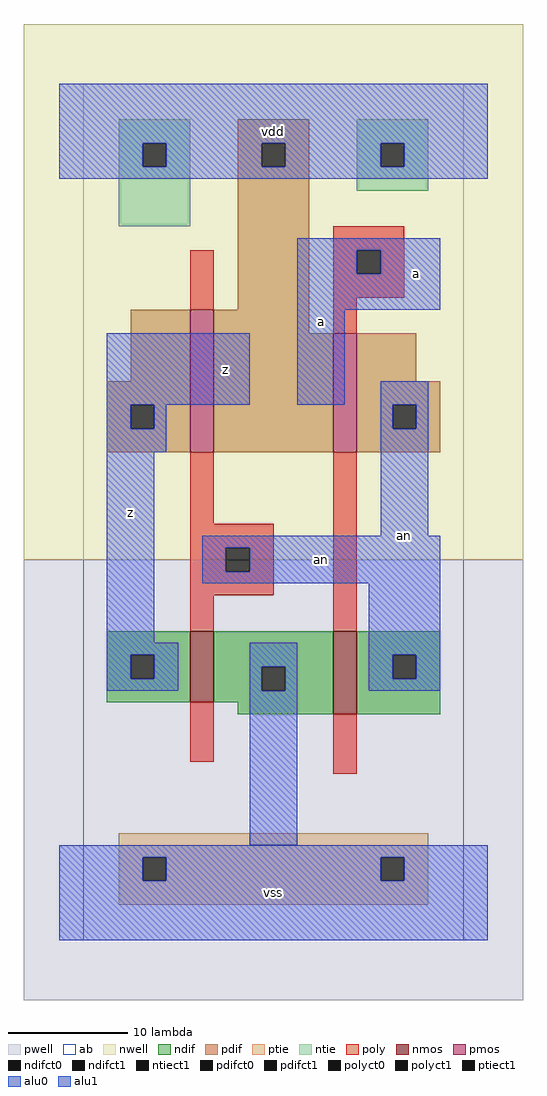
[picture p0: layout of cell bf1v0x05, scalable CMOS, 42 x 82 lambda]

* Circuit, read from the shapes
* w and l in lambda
.subckt bf1v0x05 a an vdd vss z
M1 vss an z vss nfet w=6 l=2
M2 an a vss vss nfet w=7 l=2
M3 vdd an z vdd pfet w=12 l=2
M4 an a vdd vdd pfet w=10 l=2
.ends

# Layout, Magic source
magic
tech scmos
<< ab >>
rect 0 0 32 72
<< nwell >>
rect -5 32 37 77
<< pwell >>
rect -5 -5 37 32
<< poly >>
rect 9 53 11 58
rect 21 58 27 60
rect 21 56 23 58
rect 25 56 27 58
rect 21 54 27 56
rect 21 51 23 54
rect 9 35 11 41
rect 9 33 16 35
rect 9 31 12 33
rect 14 31 16 33
rect 9 29 16 31
rect 9 26 11 29
rect 21 26 23 41
rect 9 15 11 20
rect 21 14 23 19
<< ndif >>
rect 2 24 9 26
rect 2 22 4 24
rect 6 22 9 24
rect 2 20 9 22
rect 11 23 21 26
rect 11 21 15 23
rect 17 21 21 23
rect 11 20 21 21
rect 13 19 21 20
rect 23 24 30 26
rect 23 22 26 24
rect 28 22 30 24
rect 23 19 30 22
<< pdif >>
rect 13 67 19 69
rect 13 65 15 67
rect 17 65 19 67
rect 13 53 19 65
rect 4 47 9 53
rect 2 45 9 47
rect 2 43 4 45
rect 6 43 9 45
rect 2 41 9 43
rect 11 51 19 53
rect 11 41 21 51
rect 23 47 28 51
rect 23 45 30 47
rect 23 43 26 45
rect 28 43 30 45
rect 23 41 30 43
<< alu1 >>
rect -2 67 34 72
rect -2 65 5 67
rect 7 65 15 67
rect 17 65 25 67
rect 27 65 34 67
rect -2 64 34 65
rect 18 58 30 59
rect 18 56 23 58
rect 25 56 30 58
rect 18 53 30 56
rect 2 45 14 51
rect 18 45 22 53
rect 2 43 4 45
rect 6 43 7 45
rect 2 41 7 43
rect 2 25 6 41
rect 2 24 8 25
rect 2 22 4 24
rect 6 22 8 24
rect 2 21 8 22
rect -2 7 34 8
rect -2 5 5 7
rect 7 5 25 7
rect 27 5 34 7
rect -2 0 34 5
<< ptie >>
rect 3 7 29 9
rect 3 5 5 7
rect 7 5 25 7
rect 27 5 29 7
rect 3 3 29 5
<< ntie >>
rect 3 67 9 69
rect 3 65 5 67
rect 7 65 9 67
rect 3 60 9 65
rect 23 67 29 69
rect 23 65 25 67
rect 27 65 29 67
rect 23 63 29 65
<< nmos >>
rect 9 20 11 26
rect 21 19 23 26
<< pmos >>
rect 9 41 11 53
rect 21 41 23 51
<< polyct0 >>
rect 12 31 14 33
<< polyct1 >>
rect 23 56 25 58
<< ndifct0 >>
rect 15 21 17 23
rect 26 22 28 24
<< ndifct1 >>
rect 4 22 6 24
<< ntiect1 >>
rect 5 65 7 67
rect 25 65 27 67
<< ptiect1 >>
rect 5 5 7 7
rect 25 5 27 7
<< pdifct0 >>
rect 26 43 28 45
<< pdifct1 >>
rect 15 65 17 67
rect 4 43 6 45
<< alu0 >>
rect 25 45 29 47
rect 25 43 26 45
rect 28 43 29 45
rect 25 34 29 43
rect 10 33 30 34
rect 10 31 12 33
rect 14 31 30 33
rect 10 30 30 31
rect 14 23 18 25
rect 14 21 15 23
rect 17 21 18 23
rect 24 24 30 30
rect 24 22 26 24
rect 28 22 30 24
rect 24 21 30 22
rect 14 8 18 21
<< labels >>
rlabel alu0 20 32 20 32 6 an
rlabel alu0 27 34 27 34 6 an
rlabel alu1 4 36 4 36 6 z
rlabel alu1 16 4 16 4 6 vss
rlabel alu1 12 48 12 48 6 z
rlabel alu1 16 68 16 68 6 vdd
rlabel alu1 20 52 20 52 6 a
rlabel alu1 28 56 28 56 6 a
<< end >>
